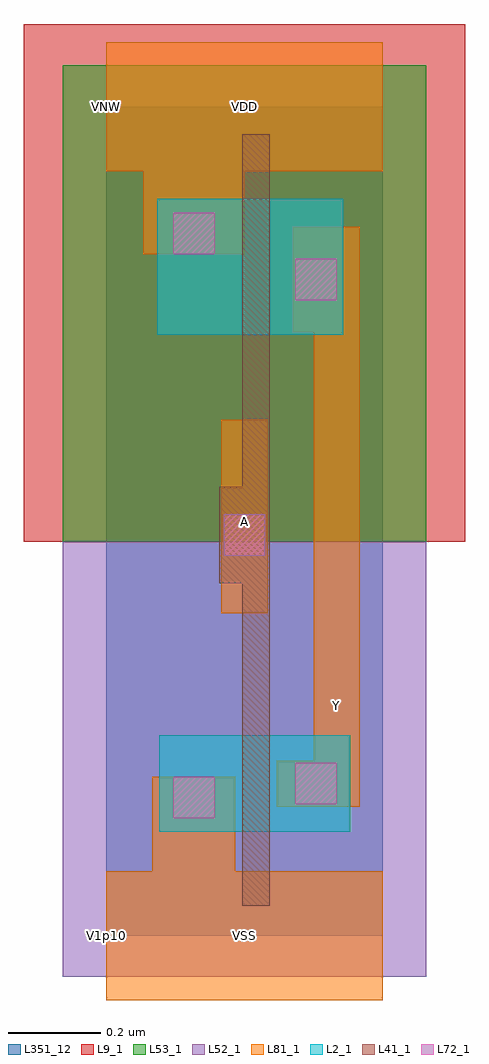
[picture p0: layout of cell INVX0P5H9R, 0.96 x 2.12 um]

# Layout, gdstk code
import gdstk
lib = gdstk.Library(unit=1e-6, precision=1e-09)
def R(c, l, rs):  # rectangles x0, y0, x1, y1
    for r in rs: c.add(gdstk.rectangle(r[:2], r[2:], *l))
def P(c, l, *ps):  # polygons
    for p in ps: c.add(gdstk.Polygon(p, *l))
L2_1 = (2, 1)
L9_1 = (9, 1)
L41_1 = (41, 1)
L52_1 = (52, 1)
L53_1 = (53, 1)
L72_1 = (72, 1)
L81_1 = (81, 1)
L351_12 = (351, 12)

invx0p5h9r = lib.new_cell('INVX0P5H9R')
R(invx0p5h9r, L2_1, [(0.115,0.225,0.53,0.435), (0.11,1.305,0.515,1.6)])
R(invx0p5h9r, L9_1, [(-0.18,0.855,0.78,1.98)])
P(invx0p5h9r, L41_1, [(0.355,1.74),(0.295,1.74),(0.295,0.975),(0.245,0.975),(0.245,0.765),(0.295,0.765),(0.295,0.065),(0.355,0.065)])
R(invx0p5h9r, L52_1, [(-0.095,-0.09,0.695,0.855)])
R(invx0p5h9r, L53_1, [(-0.095,0.855,0.695,1.89)])
R(invx0p5h9r, L72_1, [(0.145,0.255,0.235,0.345), (0.41,0.285,0.5,0.375), (0.255,0.825,0.345,0.915), (0.41,1.38,0.5,1.47), (0.145,1.48,0.235,1.57)])
R(invx0p5h9r, L81_1, [(0.25,0.7,0.35,1.12)])
P(invx0p5h9r, L81_1, [(0.6,0.14),(0.28,0.14),(0.28,0.345),(0.1,0.345),(0.1,0.14),(0,0.14),(0,-0.14),(0.6,-0.14)],
  [(0.6,1.94),(0,1.94),(0,1.66),(0.08,1.66),(0.08,1.48),(0.3,1.48),(0.3,1.66),(0.6,1.66)],
  [(0.55,1.54),(0.405,1.54),(0.405,1.31),(0.45,1.31),(0.45,0.38),(0.37,0.38),(0.37,0.28),(0.55,0.28)])
R(invx0p5h9r, L351_12, [(0,0,0.6,1.8)])
invx0p5h9r.add(gdstk.Label('V1p10', (0,0), layer=63, texttype=63))
invx0p5h9r.add(gdstk.Label('ETSCA_N55_H9BR', (0,0), layer=63, texttype=63))
invx0p5h9r.add(gdstk.Label('EtownIP Microelectronics (Beijing) Co., Ltd', (0,0), layer=63, texttype=63))
invx0p5h9r.add(gdstk.Label('VDD', (0.3,1.8), layer=81, texttype=6))
invx0p5h9r.add(gdstk.Label('A', (0.3,0.9), layer=81, texttype=6))
invx0p5h9r.add(gdstk.Label('Y', (0.5,0.5), layer=81, texttype=6))
invx0p5h9r.add(gdstk.Label('VSS', (0.3,0), layer=81, texttype=6))
invx0p5h9r.add(gdstk.Label('VPW', (0,0), layer=261, texttype=12))
invx0p5h9r.add(gdstk.Label('VNW', (0,1.8), layer=9, texttype=1))

lib.write_gds('INVX0P5H9R.gds')
